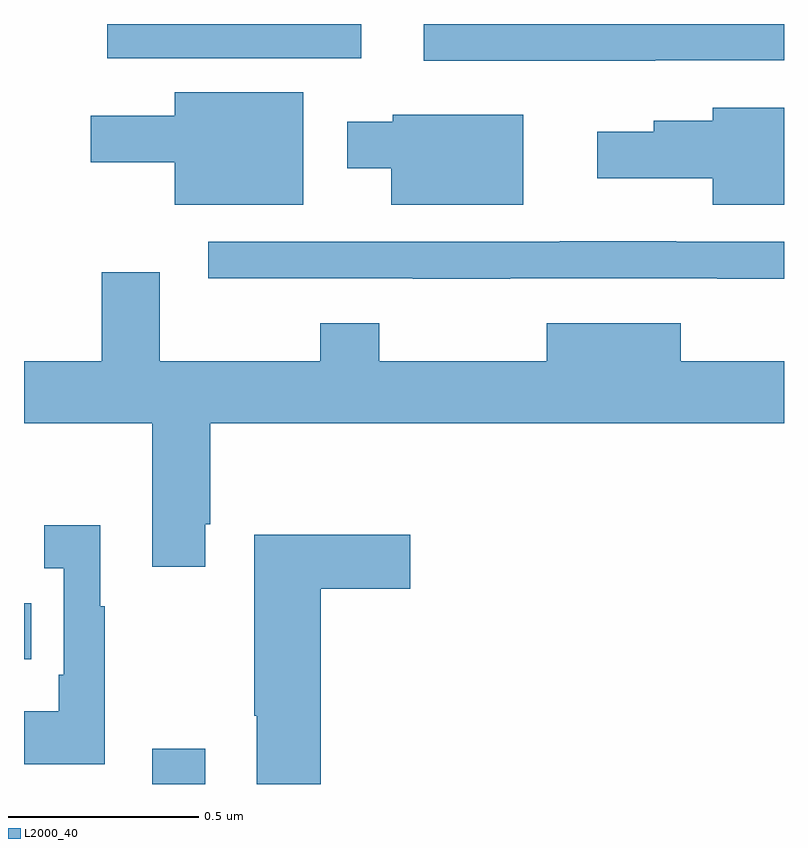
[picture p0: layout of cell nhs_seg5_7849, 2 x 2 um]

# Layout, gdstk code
import gdstk
lib = gdstk.Library(unit=1e-6, precision=1e-09)
def R(c, l, rs):  # rectangles x0, y0, x1, y1
    for r in rs: c.add(gdstk.rectangle(r[:2], r[2:], *l))
def P(c, l, *ps):  # polygons
    for p in ps: c.add(gdstk.Polygon(p, *l))
L2000_40 = (2000, 40)

nhs_seg5_7849 = lib.new_cell('nhs_seg5_7849')
R(nhs_seg5_7849, L2000_40, [(214.337,867.799,214.477,867.892), (214,868.127,214.019,868.275), (214.219,869.709,214.888,869.799)])
P(nhs_seg5_7849, L2000_40, [(215.661,869.703),(216,869.703),(216,869.799),(215.052,869.799),(215.052,869.702),(215.661,869.702)],
  [(214.735,869.62),(214.397,869.62),(214.397,869.557),(214.176,869.557),(214.176,869.435),(214.397,869.435),(214.397,869.324),(214.735,869.324)],
  [(216,869.578),(215.813,869.578),(215.813,869.545),(215.657,869.545),(215.657,869.515),(215.508,869.515),(215.508,869.393),(215.813,869.393),(215.813,869.324),(216,869.324)],
  [(215.314,869.56),(214.971,869.56),(214.971,869.542),(214.85,869.542),(214.85,869.42),(214.967,869.42),(214.967,869.324),(215.314,869.324)],
  [(215.279,869.13),(215.824,869.13),(215.824,869.129),(216,869.129),(216,869.226),(215.717,869.226),(215.717,869.227),(215.41,869.227),(215.41,869.226),(214.485,869.226),(214.485,869.13),(215.023,869.13),(215.023,869.129),(215.279,869.129)],
  [(214.477,868.483),(214.49,868.483),(214.49,868.748),(216,868.748),(216,868.912),(215.728,868.912),(215.728,869.011),(215.375,869.011),(215.375,868.912),(214.935,868.912),(214.935,869.011),(214.78,869.011),(214.78,868.912),(214.357,868.912),(214.357,869.146),(214.205,869.146),(214.205,868.912),(214,868.912),(214,868.748),(214.337,868.748),(214.337,868.371),(214.477,868.371)],
  [(214.213,868.267),(214.201,868.267),(214.201,868.48),(214.053,868.48),(214.053,868.367),(214.104,868.367),(214.104,868.087),(214.092,868.087),(214.092,867.991),(214,867.991),(214,867.851),(214.213,867.851)],
  [(214.781,868.313),(215.017,868.313),(215.017,868.455),(214.606,868.455),(214.606,867.979),(214.613,867.979),(214.613,867.799),(214.781,867.799)])

lib.write_gds('nhs_seg5_7849.gds')
